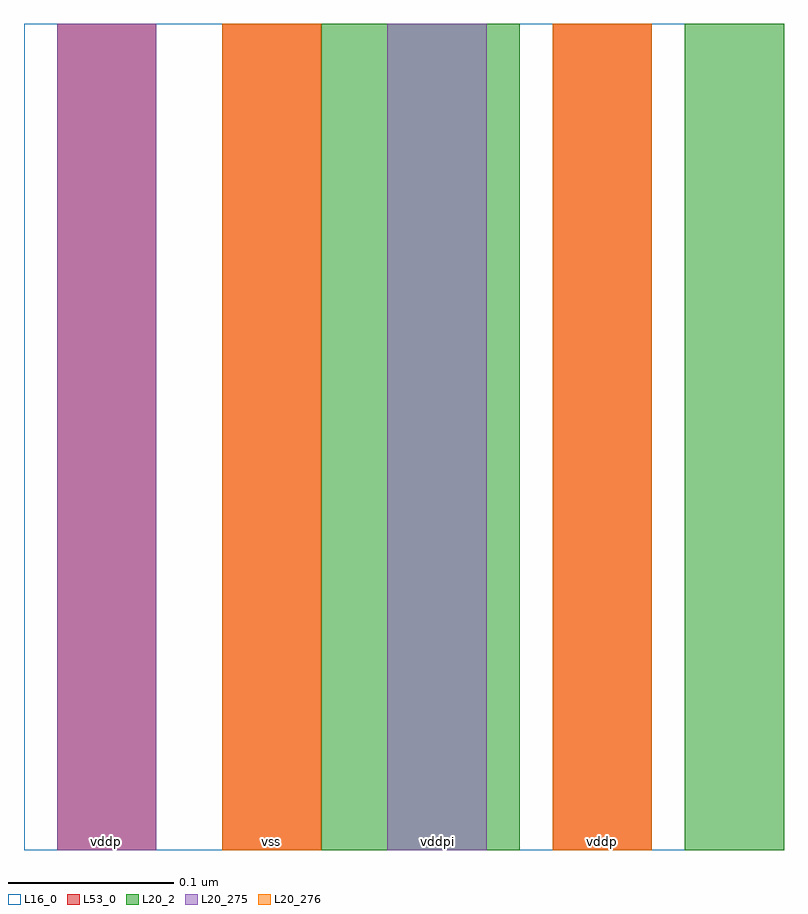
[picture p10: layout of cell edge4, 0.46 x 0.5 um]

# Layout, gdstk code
import gdstk
lib = gdstk.Library(unit=1e-6, precision=5e-10)
def R(c, l, rs):  # rectangles x0, y0, x1, y1
    for r in rs: c.add(gdstk.rectangle(r[:2], r[2:], *l))
L16_0 = (16, 0)
L20_2 = (20, 2)
L20_275 = (20, 275)
L20_276 = (20, 276)
L53_0 = (53, 0)

edge4 = lib.new_cell('edge4')
R(edge4, L16_0, [(0,0,0.46,0.5)])
R(edge4, L20_2, [(0.18,0,0.3,0.5), (0.4,0,0.46,0.5)])
R(edge4, L53_0, [(0.02,0,0.08,0.5), (0.12,0,0.18,0.5), (0.32,0,0.38,0.5)])
edge4.add(gdstk.FlexPath([(0.05,0),(0.05,0.5)], 0.06, ends="flush", simple_path=True, layer=20, datatype=275))  # L20_275
edge4.add(gdstk.FlexPath([(0.15,0),(0.15,0.5)], 0.06, ends="flush", simple_path=True, layer=20, datatype=276))  # L20_276
edge4.add(gdstk.FlexPath([(0.25,0),(0.25,0.5)], 0.06, ends="flush", simple_path=True, layer=20, datatype=275))  # L20_275
edge4.add(gdstk.FlexPath([(0.35,0),(0.35,0.5)], 0.06, ends="flush", simple_path=True, layer=20, datatype=276))  # L20_276
edge4.add(gdstk.Label('vddp', (0.05,0.005), layer=60, texttype=0))
edge4.add(gdstk.Label('vss', (0.15,0.005), layer=60, texttype=0))
edge4.add(gdstk.Label('vddpi', (0.25,0.005), layer=60, texttype=0))
edge4.add(gdstk.Label('vddp', (0.35,0.005), layer=60, texttype=0))

lib.write_gds('edge4.gds')
